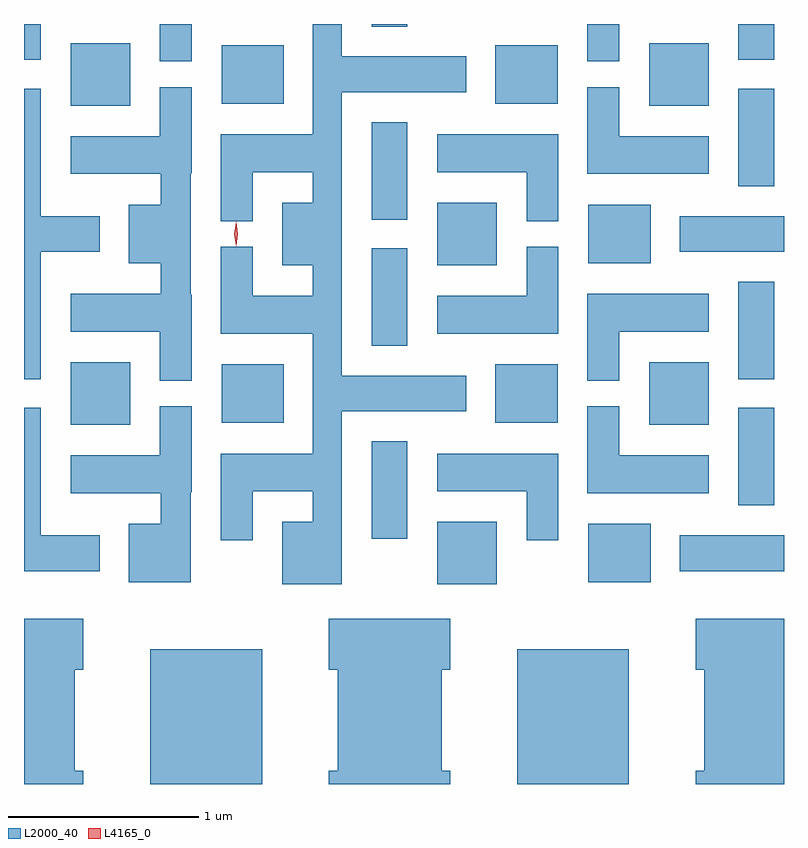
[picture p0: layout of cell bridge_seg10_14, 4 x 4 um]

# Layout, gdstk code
import gdstk
lib = gdstk.Library(unit=1e-6, precision=1e-09)
def R(c, l, rs):  # rectangles x0, y0, x1, y1
    for r in rs: c.add(gdstk.rectangle(r[:2], r[2:], *l))
def P(c, l, *ps):  # polygons
    for p in ps: c.add(gdstk.Polygon(p, *l))
L2000_40 = (2000, 40)
L4165_0 = (4165, 0)

bridge_seg10_14 = lib.new_cell('bridge_seg10_14')
R(bridge_seg10_14, L2000_40, [(1787.211,2152.835,1787.799,2153.544), (1789.141,2152.835,1789.729,2153.544), (1788.721,2153.886,1789.034,2154.214), (1789.516,2153.896,1789.844,2154.204), (1789.996,2153.956,1790.546,2154.144), (1788.376,2154.126,1788.564,2154.639), (1790.306,2154.301,1790.494,2154.814), (1786.791,2154.726,1787.104,2155.054), (1789.836,2154.726,1790.149,2155.054), (1787.586,2154.736,1787.914,2155.044), (1789.026,2154.736,1789.354,2155.044), (1790.306,2154.966,1790.494,2155.479), (1788.376,2155.141,1788.564,2155.654), (1788.721,2155.566,1789.034,2155.894), (1789.516,2155.576,1789.844,2155.884), (1789.996,2155.636,1790.546,2155.824), (1788.376,2155.806,1788.564,2156.319), (1790.306,2155.981,1790.494,2156.494), (1786.791,2156.406,1787.104,2156.734), (1789.836,2156.406,1790.149,2156.734), (1787.586,2156.416,1787.914,2156.724), (1789.026,2156.416,1789.354,2156.724), (1787.261,2156.638,1787.429,2156.835), (1789.511,2156.638,1789.679,2156.835), (1786.546,2156.646,1786.634,2156.835), (1790.306,2156.646,1790.494,2156.835), (1788.376,2156.821,1788.564,2156.835)])
P(bridge_seg10_14, L2000_40, [(1788.219,2154.796),(1788.874,2154.796),(1788.874,2154.984),(1788.219,2154.984),(1788.219,2156.476),(1788.874,2156.476),(1788.874,2156.664),(1788.219,2156.664),(1788.219,2156.835),(1788.066,2156.835),(1788.066,2156.254),(1787.581,2156.254),(1787.581,2155.798),(1787.749,2155.798),(1787.749,2156.056),(1788.066,2156.056),(1788.066,2155.894),(1787.906,2155.894),(1787.906,2155.566),(1788.066,2155.566),(1788.066,2155.404),(1787.749,2155.404),(1787.749,2155.663),(1787.581,2155.663),(1787.581,2155.206),(1788.066,2155.206),(1788.066,2154.574),(1787.581,2154.574),(1787.581,2154.118),(1787.749,2154.118),(1787.749,2154.376),(1788.066,2154.376),(1788.066,2154.214),(1787.906,2154.214),(1787.906,2153.886),(1788.219,2153.886)],
  [(1787.429,2155.41),(1787.424,2155.41),(1787.424,2156.05),(1787.429,2156.05),(1787.429,2156.503),(1787.261,2156.503),(1787.261,2156.244),(1786.791,2156.244),(1786.791,2156.046),(1787.266,2156.046),(1787.266,2155.884),(1787.096,2155.884),(1787.096,2155.576),(1787.266,2155.576),(1787.266,2155.414),(1786.791,2155.414),(1786.791,2155.216),(1787.261,2155.216),(1787.261,2154.958),(1787.429,2154.958)],
  [(1790.149,2156.244),(1789.679,2156.244),(1789.679,2156.503),(1789.511,2156.503),(1789.511,2156.046),(1790.149,2156.046)],
  [(1786.634,2155.636),(1786.944,2155.636),(1786.944,2155.824),(1786.634,2155.824),(1786.634,2156.494),(1786.546,2156.494),(1786.546,2154.966),(1786.634,2154.966)],
  [(1789.359,2156.254),(1788.721,2156.254),(1788.721,2156.056),(1789.191,2156.056),(1789.191,2155.798),(1789.359,2155.798)],
  [(1789.359,2155.663),(1789.191,2155.663),(1789.191,2155.404),(1788.721,2155.404),(1788.721,2155.206),(1789.359,2155.206)],
  [(1789.679,2155.216),(1790.149,2155.216),(1790.149,2155.414),(1789.511,2155.414),(1789.511,2154.958),(1789.679,2154.958)],
  [(1787.424,2154.37),(1787.429,2154.37),(1787.429,2154.823),(1787.261,2154.823),(1787.261,2154.564),(1786.791,2154.564),(1786.791,2154.366),(1787.266,2154.366),(1787.266,2154.204),(1787.096,2154.204),(1787.096,2153.896),(1787.424,2153.896)],
  [(1790.149,2154.564),(1789.679,2154.564),(1789.679,2154.823),(1789.511,2154.823),(1789.511,2154.366),(1790.149,2154.366)],
  [(1786.944,2154.144),(1786.634,2154.144),(1786.634,2154.814),(1786.546,2154.814),(1786.546,2153.956),(1786.944,2153.956)],
  [(1789.359,2154.574),(1788.721,2154.574),(1788.721,2154.376),(1789.191,2154.376),(1789.191,2154.118),(1789.359,2154.118)],
  [(1788.789,2152.904),(1788.744,2152.904),(1788.744,2153.436),(1788.789,2153.436),(1788.789,2153.704),(1788.151,2153.704),(1788.151,2153.436),(1788.196,2153.436),(1788.196,2152.904),(1788.151,2152.904),(1788.151,2152.835),(1788.789,2152.835)],
  [(1786.859,2152.904),(1786.814,2152.904),(1786.814,2153.436),(1786.859,2153.436),(1786.859,2153.704),(1786.546,2153.704),(1786.546,2152.835),(1786.859,2152.835)],
  [(1790.546,2153.704),(1790.081,2153.704),(1790.081,2153.436),(1790.126,2153.436),(1790.126,2152.904),(1790.081,2152.904),(1790.081,2152.835),(1790.546,2152.835)])
P(bridge_seg10_14, L4165_0, [(1787.662,2155.664),(1787.662,2155.665),(1787.652,2155.73),(1787.662,2155.795),(1787.662,2155.796),(1787.663,2155.795),(1787.672,2155.73),(1787.663,2155.665)],
  [(1787.662,2155.667),(1787.662,2155.668),(1787.652,2155.73),(1787.662,2155.792),(1787.662,2155.793),(1787.663,2155.792),(1787.672,2155.73),(1787.663,2155.668)])

lib.write_gds('bridge_seg10_14.gds')
